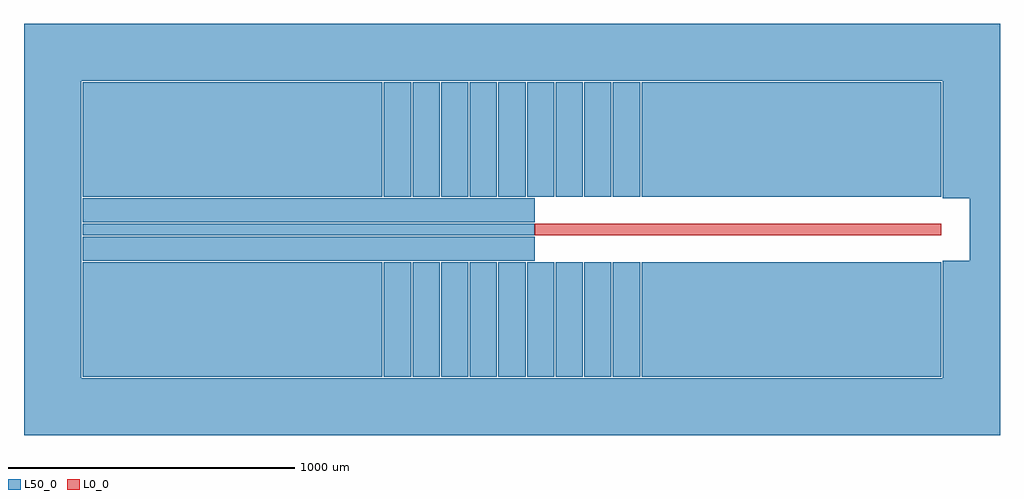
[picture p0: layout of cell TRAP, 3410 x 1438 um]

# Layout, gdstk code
import gdstk
lib = gdstk.Library(unit=1e-6, precision=1e-09)
def R(c, l, rs):  # rectangles x0, y0, x1, y1
    for r in rs: c.add(gdstk.rectangle(r[:2], r[2:], *l))
def A(c, l, x, y, w, h, nx, ny, dx, dy):  # array of equal rectangles
    R(c, l, [(x+i*dx, y+j*dy, x+i*dx+w, y+j*dy+h) for i in range(nx) for j in range(ny)])
def P(c, l, *ps):  # polygons
    for p in ps: c.add(gdstk.Polygon(p, *l))
L0_0 = (0, 0)
L50_0 = (50, 0)

trap = lib.new_cell('TRAP')
R(trap, L0_0, [(80,-20,1500,20)])
A(trap, L50_0, -447.5, -514, 95, 400, 9, 2, 100, 628)
R(trap, L50_0, [(-1500,-514,-452.5,-114), (452.5,-514,1500,-114), (-1500,-109,80,-25), (-1500,-20,80,20), (-1500,25,80,109), (-1500,114,-452.5,514), (452.5,114,1500,514)])
P(trap, L50_0, [(1705,-719),(1705,719),(-1705,719),(-1705,-519),(-1505,-519),(-1505,519),(1505,519),(1505,110),(1600,110),(1600,-110),(1505,-110),(1505,-519),(-1505,-519),(-1705,-519),(-1705,-719)])

lib.write_gds('TRAP.gds')
